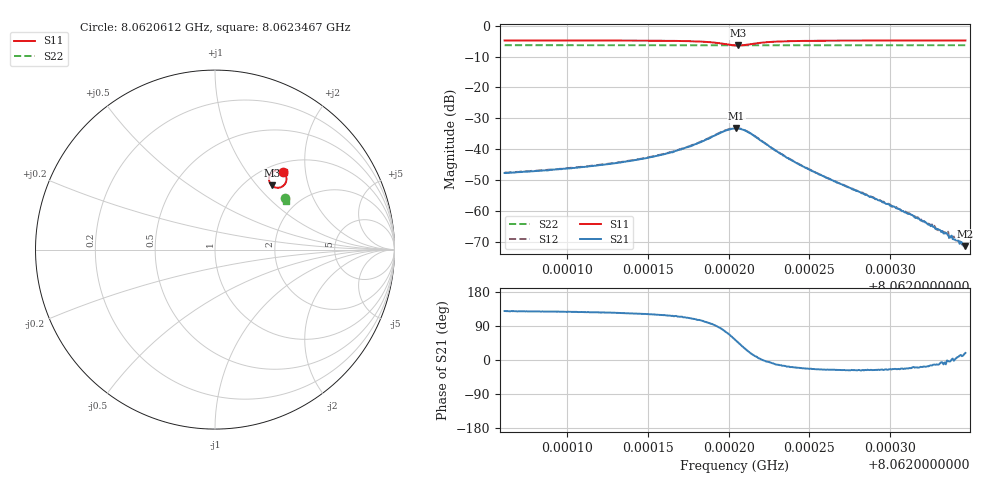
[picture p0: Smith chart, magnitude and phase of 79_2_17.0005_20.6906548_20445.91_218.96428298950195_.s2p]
#  HZ  S  RI  R  50.00
! Rohde & Schwarz Vector Network Analyzer
! Rohde-Schwarz,ZNB20-2Port,1311601062101988,3.16
! Created: UTC 3/20/2024, 10:55:39 PM
! freq[Hz]  re:S11  im:S11  re:S21  im:S21  re:S12  im:S12  re:S22  im:S22
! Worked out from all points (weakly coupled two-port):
!   401 points, 8.0620612 GHz to 8.0623467 GHz, reference 50 ohm
!   highest |S21| = -33.20 dB at 8.0622046 GHz (marker M1); lowest = -71.3 dB at 8.0623467 GHz (marker M2)
!   lowest |S11| = -6.4 dB at 8.0622061 GHz (marker M3), VSWR 2.83, Z = 64.9 + j60 ohm
!   |S11| at or under -10 dB: nowhere
!   |S22| runs from -6.4 to -6.3 dB; largest |S21 - S12| = 0.0016
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8.0620612e9  0.3809 0.4312  -0.00262 0.0032  -0.00245 0.0034  0.3879 0.2866
8.06210901e9  0.3865 0.4251  -0.00308 0.00413  -0.00279 0.00436  0.3895 0.2841
8.06213399e9  0.3903 0.4197  -0.00344 0.00512  -0.00316 0.00541  0.3905 0.2826
8.06215682e9  0.3949 0.4106  -0.00391 0.00696  -0.00351 0.00729  0.3912 0.281
8.06217467e9  0.398 0.3955  -0.00395 0.0101  -0.00333 0.0105  0.3916 0.2796
8.06218894e9  0.3918 0.3691  -0.00154 0.0155  -0.000709 0.0158  0.3914 0.2779
8.06219822e9  0.3631 0.3462  0.00545 0.0194  0.00679 0.0191  0.3902 0.2771
8.06220392e9  0.3284 0.349  0.0128 0.0176  0.0142 0.0168  0.3889 0.2775
8.06220464e9  0.3241 0.3513  0.0137 0.0171  0.0149 0.0161  0.3889 0.2775
8.06220607e9  0.3163 0.3573  0.0151 0.0155  0.0163 0.0145  0.3886 0.2778
8.06221249e9  0.3009 0.3944  0.0174 0.00688  0.0179 0.00585  0.3888 0.2793
8.06222248e9  0.319 0.4309  0.0125 -0.000525  0.0125 -0.00127  0.3904 0.2801
8.06223604e9  0.3433 0.4412  0.00695 -0.00221  0.00698 -0.00257  0.392 0.2796
8.06225174e9  0.3579 0.4409  0.00406 -0.00179  0.00401 -0.00205  0.393 0.2786
8.06229955e9  0.3746 0.4349  0.00115 -0.000521  0.00114 -0.000615  0.3952 0.276
8.06231311e9  0.3772 0.4335  0.000809 -0.00032  0.000785 -0.000368  0.3957 0.2752
8.06232596e9  0.3792 0.4321  0.000572 -0.000146  0.000583 -0.000177  0.3961 0.2745
8.06233024e9  0.3796 0.4318  0.00049 -0.000102  0.000464 -0.00013  0.3963 0.2743
8.06233452e9  0.3802 0.4314  0.000437 -8.84e-05  0.000435 -5.87e-05  0.3964 0.2741
8.06233809e9  0.3807 0.4312  0.000402 6.99e-06  0.000394 -2.39e-05  0.3966 0.2739
8.06234309e9  0.3814 0.4307  0.000289 5.92e-05  0.000313 3.59e-05  0.3967 0.2736
8.06234666e9  0.3817 0.4304  0.000258 8.66e-05  0.000267 4.65e-05  0.3969 0.2735
